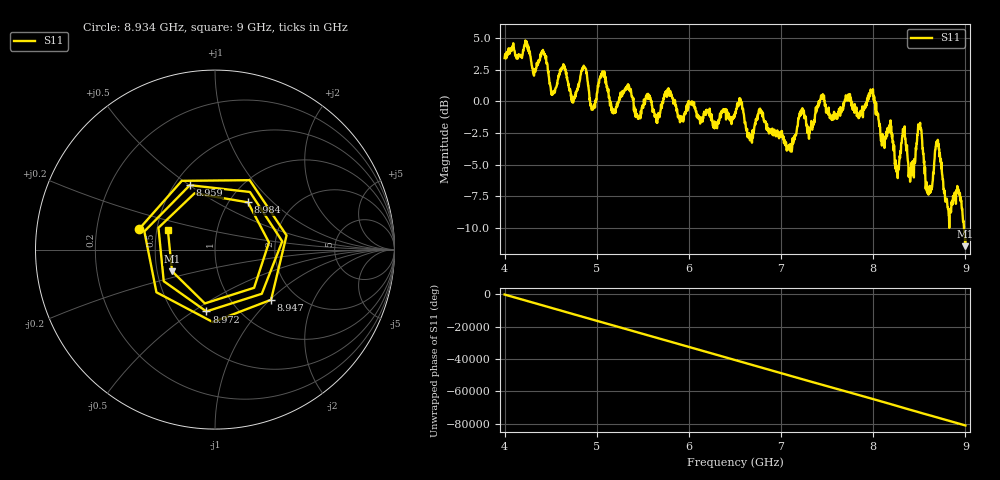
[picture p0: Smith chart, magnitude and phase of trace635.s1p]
! Created with skrf 1.8.0 (http://scikit-rf.org).
# Hz S RI R 50.0
!freq ReS11 ImS11
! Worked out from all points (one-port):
!   1601 points, 4 GHz to 9 GHz, reference 50 ohm
!   lowest |S11| = -11.4 dB at 8.997 GHz (marker M1), VSWR 1.73, Z = 29.9 - j7.78 ohm
!   |S11| at or under -10 dB: 8.985058 GHz to end of sweep
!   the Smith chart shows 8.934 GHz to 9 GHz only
!   S11 on the Smith chart (normalised r, x): 8.934 GHz: 0.40, +0.11; 8.947 GHz: 1.50, -1.01; 8.959 GHz: 0.60, +0.50; 8.972 GHz: 0.72, -0.57; 8.984 GHz: 1.22, +0.72; 9 GHz: 0.57, +0.13
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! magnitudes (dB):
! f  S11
! 4 GHz  3.4
! 4.425 GHz  3.9
! 4.525 GHz  0.7
! 4.625 GHz  2.7
! 4.744 GHz  -0.1
! 4.859 GHz  2.8
! 4.956 GHz  -0.4
! 5.062 GHz  2.4
! 5.25 GHz  0.1
! 5.875 GHz  -0.9
! 6.5 GHz  -0.9
! 7.125 GHz  -2.9
! 7.75 GHz  0.3
! 7.988 GHz  0.9
! 8.256 GHz  -5.4
! 8.328 GHz  -2.5
! 8.375 GHz  -4.7
! 8.503 GHz  -1.8
! 8.594 GHz  -6.9
! 8.697 GHz  -3.5
! 8.806 GHz  -8.3
! 8.934 GHz  -7.2
! 8.947 GHz  -7.6
! 8.959 GHz  -8.3
! 8.972 GHz  -9.2
! 8.984 GHz  -9.9
! 8.997 GHz  -11.4
! 9 GHz  -10.9
